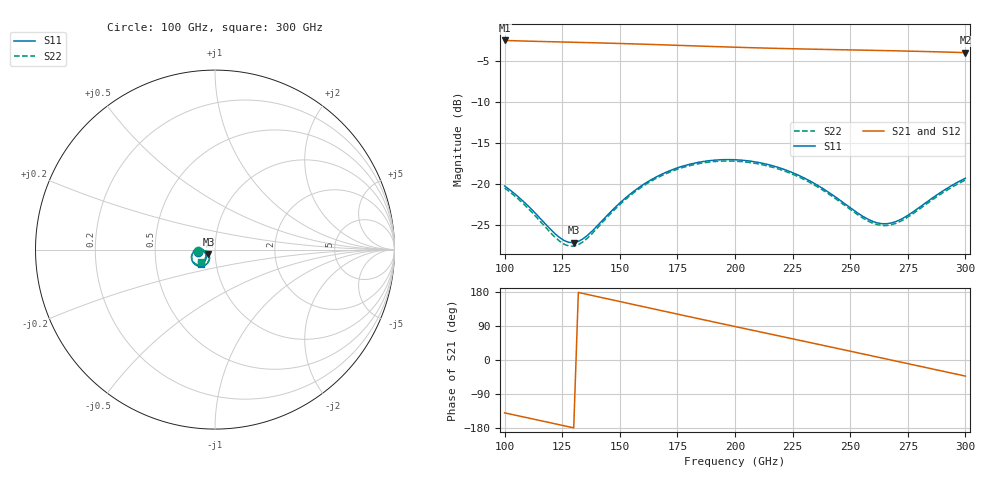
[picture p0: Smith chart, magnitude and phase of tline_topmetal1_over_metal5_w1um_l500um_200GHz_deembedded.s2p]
! Created with skrf 2.0.1 (http://scikit-rf.org).
# GHz S DB R 50.0
!freq dBS11 angS11 dBS21 angS21 dBS12 angS12 dBS22 angS22
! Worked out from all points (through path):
!   101 points, 100 GHz to 300 GHz, reference 50 ohm
!   highest |S21| = -2.43 dB at 100 GHz (marker M1); lowest = -3.9 dB at 300 GHz (marker M2)
!   group delay of S21, straight-line fit = 3.65 ps
!   lowest |S11| = -27.1 dB at 130 GHz (marker M3), VSWR 1.09, Z = 46.4 - j2.33 ohm
!   |S11| at or under -10 dB: start of sweep to end of sweep
!   |S22| runs from -27.5 to -17.2 dB; largest |S21 - S12| = 7.7e-14
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100  -20.19 -172.2  -2.43 -139.5  -2.43 -139.5  -20.44 -174.2
112  -23.13 -175.8  -2.53 -155.3  -2.53 -155.3  -23.46 -178.1
124  -26.52 -161.7  -2.61 -171.1  -2.61 -171.1  -26.96 -163.6
130  -27.11 -145.5  -2.66 -179.1  -2.66 -179.1  -27.54 -146.7
134  -26.65 -134.7  -2.68 175.6  -2.68 175.6  -27.02 -135.6
142  -24.53 -121.3  -2.74 165.0  -2.74 165.0  -24.78 -122.3
150  -22.27 -118.0  -2.80 154.3  -2.80 154.3  -22.46 -119.5
158  -20.44 -120.2  -2.87 143.7  -2.87 143.7  -20.61 -122.1
168  -18.79 -126.7  -2.96 130.4  -2.96 130.4  -18.95 -128.9
176  -17.89 -133.2  -3.04 119.8  -3.04 119.8  -18.06 -135.7
184  -17.31 -140.2  -3.11 109.3  -3.11 109.3  -17.48 -143.0
192  -17.02 -147.5  -3.19 98.8  -3.19 98.8  -17.20 -150.5
200  -16.99 -154.7  -3.26 88.4  -3.26 88.4  -17.17 -157.9
216  -17.70 -168.0  -3.38 67.6  -3.38 67.6  -17.89 -171.6
234  -19.81 -178.6  -3.50 44.1  -3.50 44.1  -20.01 177.5
246  -22.02 -179.0  -3.57 28.5  -3.57 28.5  -22.23 176.8
258  -24.29 -167.9  -3.63 12.8  -3.63 12.8  -24.51 -172.3
264  -24.80 -157.4  -3.66 4.9  -3.66 4.9  -25.02 -161.9
268  -24.70 -149.9  -3.69 -0.4  -3.69 -0.4  -24.92 -154.4
274  -23.95 -140.3  -3.73 -8.3  -3.73 -8.3  -24.17 -145.0
284  -22.00 -132.1  -3.79 -21.4  -3.79 -21.4  -22.21 -137.0
300  -19.25 -133.7  -3.92 -42.4  -3.92 -42.4  -19.46 -139.0
